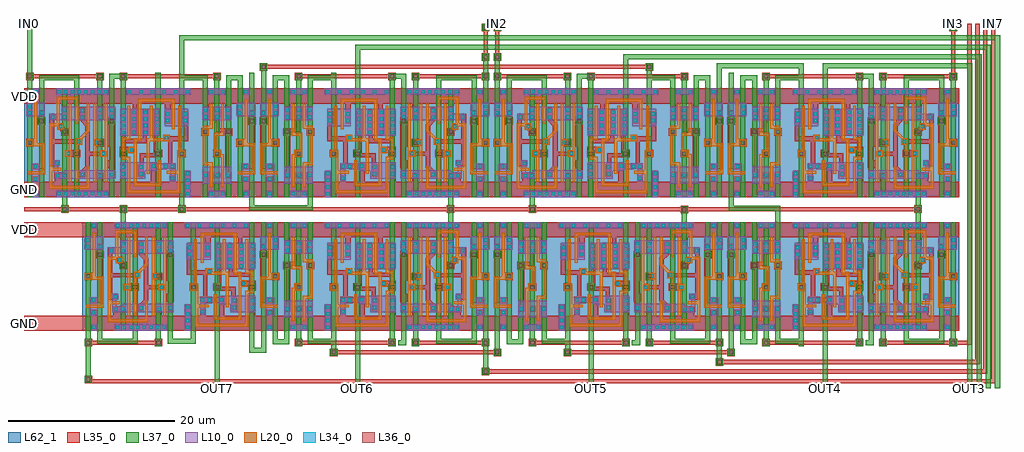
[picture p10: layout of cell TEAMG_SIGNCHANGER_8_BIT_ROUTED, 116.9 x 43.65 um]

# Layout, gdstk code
from math import pi, radians
import gdstk
lib = gdstk.Library(unit=1e-6, precision=1e-09)
def R(c, l, rs):  # rectangles x0, y0, x1, y1
    for r in rs: c.add(gdstk.rectangle(r[:2], r[2:], *l))
def A(c, l, x, y, w, h, nx, ny, dx, dy):  # array of equal rectangles
    R(c, l, [(x+i*dx, y+j*dy, x+i*dx+w, y+j*dy+h) for i in range(nx) for j in range(ny)])
def P(c, l, *ps):  # polygons
    for p in ps: c.add(gdstk.Polygon(p, *l))
L10_0 = (10, 0)
L20_0 = (20, 0)
L34_0 = (34, 0)
L35_0 = (35, 0)
L36_0 = (36, 0)
L37_0 = (37, 0)
L62_1 = (62, 1)

via1 = lib.new_cell('VIA1')
R(via1, L35_0, [(-0.45,-0.45,0.45,0.45)])
R(via1, L36_0, [(-0.25,-0.25,0.25,0.25)])
R(via1, L37_0, [(-0.4,-0.4,0.4,0.4)])

nand21_h = lib.new_cell('NAND21_H')
R(nand21_h, L10_0, [(1.05,0,3.15,0.75), (0.4,1.6,3.8,3.6), (0.4,9.2,3.8,10.8), (1.05,12.25,3.15,13)])
P(nand21_h, L20_0, [(2.95,5.15),(2.625,5.15),(2.625,5.675),(2.05,5.675),(2.05,7.35),(2.95,7.35),(2.95,11.2),(2.6,11.2),(2.6,7.7),(1.7,7.7),(1.7,4.8),(2.6,4.8),(2.6,1.2),(2.95,1.2)],
  [(1.6,4.15),(0.775,4.15),(0.775,7.4),(1.1,7.4),(1.1,8.2),(1.6,8.2),(1.6,11.2),(1.25,11.2),(1.25,8.55),(0.425,8.55),(0.425,8.2),(0.3,8.2),(0.3,7.4),(0.425,7.4),(0.425,3.8),(1.25,3.8),(1.25,1.2),(1.6,1.2)])
A(nand21_h, L34_0, 0.55, 2.4, 0.4, 0.4, 3, 2, 1.35, 7)
A(nand21_h, L34_0, 0.55, 10.2, 0.4, 0.4, 3, 1, 1.35, 0)
R(nand21_h, L34_0, [(1.2,0.2,1.6,0.6), (2.6,0.2,3,0.6), (1.9,5,2.3,5.4), (0.5,7.6,0.9,8), (1.2,12.4,1.6,12.8), (2.6,12.4,3,12.8)])
R(nand21_h, L35_0, [(1.75,2.25,2.45,2.95), (1.65,4.75,2.55,5.65), (1.65,4.75,2.55,5.65), (0.25,7.35,1.15,8.25), (0.25,7.35,1.15,8.25), (3.05,7.35,3.95,8.25)])
P(nand21_h, L35_0, [(4.2,1.8),(1.1,1.8),(1.1,3),(0.4,3),(0.4,1.8),(0,1.8),(0,0),(4.2,0)],
  [(4.2,13),(0,13),(0,11.2),(0.4,11.2),(0.4,9.25),(1.1,9.25),(1.1,11.2),(3.1,11.2),(3.1,9.25),(3.8,9.25),(3.8,11.2),(4.2,11.2)],
  [(3.95,8.25),(2.45,8.25),(2.45,10.75),(1.75,10.75),(1.75,9.25),(1.95,9.25),(1.95,7.75),(3.05,7.75),(3.05,7.35),(3.1,7.35),(3.1,2.25),(3.8,2.25),(3.8,2.95),(3.6,2.95),(3.6,7.35),(3.95,7.35)])
R(nand21_h, L36_0, [(1.85,4.95,2.35,5.45), (0.45,7.55,0.95,8.05), (3.25,7.55,3.75,8.05)])
A(nand21_h, L37_0, 0.4, 0, 0.6, 13, 3, 1, 1.4, 0)
R(nand21_h, L37_0, [(1.7,4.8,2.5,5.6), (0.3,7.4,1.1,8.2), (3.1,7.4,3.9,8.2)])
R(nand21_h, L62_1, [(0,0,4.2,13)])
nand21_h.add(gdstk.Label('NAND21', (2.1,9.5), layer=61, texttype=2))
nand21_h.add(gdstk.Label('B', (0.7,13), layer=37, texttype=0))
nand21_h.add(gdstk.Label('Q', (3.5,13), layer=37, texttype=0))
nand21_h.add(gdstk.Label('A', (2.1,13), layer=37, texttype=0))
nand21_h.add(gdstk.Label('GND', (4.2,0.9), layer=35, texttype=0))
nand21_h.add(gdstk.Label('GND', (0,0.9), layer=35, texttype=0))
nand21_h.add(gdstk.Label('VDD', (4.2,12.1), layer=35, texttype=0))
nand21_h.add(gdstk.Label('VDD', (0,12.1), layer=35, texttype=0))
nand21_h.add(gdstk.Label('B', (0.7,0), layer=37, texttype=0))
nand21_h.add(gdstk.Label('Q', (3.5,0), layer=37, texttype=0))
nand21_h.add(gdstk.Label('A', (2.1,0), layer=37, texttype=0))

xor21_h = lib.new_cell('XOR21_H')
R(xor21_h, L10_0, [(8.05,0,8.75,3.15), (0.3,7.35,5.05,10.55), (5.65,8.5,8.5,10.55), (1.05,12.25,8.75,13)])
P(xor21_h, L10_0, [(6.95,4.025),(5.45,4.025),(5.45,3.975),(4.7,3.975),(4.7,4.175),(0.3,4.175),(0.3,2.175),(3.3,2.175),(3.3,3.175),(4.7,3.175),(4.7,3.325),(6.3,3.325),(6.3,2.575),(6.25,2.575),(6.25,1.875),(6.95,1.875)])
P(xor21_h, L20_0, [(6.85,11.75),(2.5,11.75),(2.5,7.025),(1.95,7.025),(1.95,6.05),(1.3,6.05),(1.3,5.25),(1.95,5.25),(1.95,1.275),(5.25,1.275),(5.25,4.375),(4.9,4.375),(4.9,1.625),(2.3,1.625),(2.3,6.675),(2.85,6.675),(2.85,11.4),(6.5,11.4),(6.5,8.1),(6.85,8.1)],
  [(8.1,5.6),(7.65,5.6),(7.65,10.95),(7.3,10.95),(7.3,5.6),(7.15,5.6),(7.15,3.125),(5.9,3.125),(5.9,2.775),(7.15,2.775),(7.15,0.825),(1.5,0.825),(1.5,4.8),(0.85,4.8),(0.85,6.8),(1.5,6.8),(1.5,10.95),(1.15,10.95),(1.15,7.15),(0.5,7.15),(0.5,4.45),(1.15,4.45),(1.15,0.475),(7.5,0.475),(7.5,4.8),(8.1,4.8)],
  [(6.275,7.475),(5.475,7.475),(5.475,7.025),(4.2,7.025),(4.2,10.95),(3.85,10.95),(3.85,7.025),(3.5,7.025),(3.5,2.775),(3.85,2.775),(3.85,6.675),(6.275,6.675)])
A(xor21_h, L34_0, 8.2, 0.2, 0.4, 0.4, 1, 4, 0, 0.8)
A(xor21_h, L34_0, 0.45, 7.55, 0.4, 0.4, 4, 4, 1.35, 0.8)
A(xor21_h, L34_0, 1.2, 12.4, 0.4, 0.4, 6, 1, 1.4, 0)
R(xor21_h, L34_0, [(6.4,2.05,6.8,2.45), (0.45,2.55,0.85,2.95), (2.6,2.55,3,2.95), (0.45,3.4,0.85,3.8), (2.6,3.4,3,3.8), (5.6,3.45,6,3.85), (6.4,3.45,6.8,3.85), (4.15,3.5,4.55,3.9), (7.5,5,7.9,5.4), (1.5,5.45,1.9,5.85), (5.65,6.9,6.05,7.3), (5.8,8.95,6.2,9.35), (7.95,8.95,8.35,9.35), (5.8,9.75,6.2,10.15), (7.95,9.75,8.35,10.15)])
R(xor21_h, L35_0, [(0.25,4.75,1.15,5.65), (4.4,4.75,5.3,5.65), (7.25,4.75,8.15,5.65), (7.25,4.75,8.15,5.65)])
P(xor21_h, L35_0, [(5.35,5.65),(4.85,5.65),(4.85,7.4),(5.05,7.4),(5.05,10.5),(4.35,10.5),(4.35,5.25),(2.65,5.25),(2.65,3.95),(2.45,3.95),(2.45,2.4),(3.15,2.4),(3.15,4.75),(5.35,4.75)],
  [(9.8,1.8),(8.75,1.8),(8.75,3.15),(8.05,3.15),(8.05,1.8),(6.95,1.8),(6.95,2.6),(6.25,2.6),(6.25,1.8),(4.7,1.8),(4.7,4.05),(4,4.05),(4,1.8),(1,1.8),(1,3.95),(0.3,3.95),(0.3,1.8),(0,1.8),(0,0),(9.8,0)],
  [(8.5,10.3),(7.8,10.3),(7.8,8.8),(8,8.8),(8,7.25),(6.25,7.25),(6.25,7.45),(5.5,7.45),(5.5,6.7),(6.05,6.7),(6.05,4.05),(5.45,4.05),(5.45,3.3),(6.95,3.3),(6.95,4.05),(6.55,4.05),(6.55,6.7),(8.5,6.7)],
  [(9.8,13),(0,13),(0,11.2),(1.85,11.2),(1.85,10.5),(1.65,10.5),(1.65,7.4),(2.35,7.4),(2.35,11.2),(5.65,11.2),(5.65,8.8),(6.35,8.8),(6.35,11.2),(9.8,11.2)],
  [(3.7,10.5),(3,10.5),(3,6.95),(1,6.95),(1,10.5),(0.3,10.5),(0.3,7.4),(0.5,7.4),(0.5,6.45),(3.5,6.45),(3.5,7.4),(3.7,7.4)],
  [(2.05,6),(0.25,6),(0.25,4.75),(1.15,4.75),(1.15,5.3),(2.05,5.3)])
R(xor21_h, L36_0, [(0.45,4.95,0.95,5.45), (4.6,4.95,5.1,5.45), (7.45,4.95,7.95,5.45)])
R(xor21_h, L37_0, [(0.4,0,1,13), (4.55,0,5.15,13), (7.4,0,8,13), (0.3,4.8,1.1,5.6), (4.45,4.8,5.25,5.6), (7.3,4.8,8.1,5.6)])
R(xor21_h, L62_1, [(0,0,9.8,13)])
xor21_h.add(gdstk.Label('XOR21', (4.9,9.5), layer=61, texttype=2))
xor21_h.add(gdstk.Label('A', (0.7,13), layer=37, texttype=0))
xor21_h.add(gdstk.Label('Q', (4.85,13), layer=37, texttype=0))
xor21_h.add(gdstk.Label('B', (7.7,13), layer=37, texttype=0))
xor21_h.add(gdstk.Label('GND', (9.8,0.9), layer=35, texttype=0))
xor21_h.add(gdstk.Label('GND', (0,0.9), layer=35, texttype=0))
xor21_h.add(gdstk.Label('VDD', (9.8,12.1), layer=35, texttype=0))
xor21_h.add(gdstk.Label('VDD', (0,12.1), layer=35, texttype=0))
xor21_h.add(gdstk.Label('A', (0.7,0), layer=37, texttype=0))
xor21_h.add(gdstk.Label('Q', (4.85,0), layer=37, texttype=0))
xor21_h.add(gdstk.Label('B', (7.7,0), layer=37, texttype=0))

inv1_h = lib.new_cell('INV1_H')
R(inv1_h, L10_0, [(1.05,0,1.75,0.75), (0.85,1.8,1.85,4), (0.3,9.7,2.5,11.3), (1.05,12.25,1.75,13)])
P(inv1_h, L20_0, [(2.525,6.45),(1.575,6.45),(1.575,11.7),(1.225,11.7),(1.225,6.9),(0.3,6.9),(0.3,6.1),(2.175,6.1),(2.175,3.075),(0.425,3.075),(0.425,2.725),(2.525,2.725)])
R(inv1_h, L34_0, [(1.2,0.2,1.6,0.6), (1.15,1.95,1.55,2.35), (1.15,3.45,1.55,3.85), (0.5,6.3,0.9,6.7), (0.45,9.85,0.85,10.25), (1.95,9.85,2.35,10.25), (0.45,10.65,0.85,11.05), (1.2,12.4,1.6,12.8)])
R(inv1_h, L35_0, [(0,0,2.8,1.8), (0.25,6.05,1.15,6.95), (0.25,6.05,1.15,6.95), (1.65,8.65,2.55,9.55), (0,11.2,2.8,13)])
P(inv1_h, L35_0, [(2.8,1.8),(1.75,1.8),(1.75,2.5),(1,2.5),(1,1.8),(0,1.8),(0,0),(2.8,0)],
  [(2.55,9.55),(2.5,9.55),(2.5,10.4),(1.8,10.4),(1.8,9.55),(1.65,9.55),(1.65,8.65),(1.8,8.65),(1.8,4),(1,4),(1,3.3),(2.5,3.3),(2.5,8.65),(2.55,8.65)],
  [(2.8,13),(0,13),(0,11.2),(0.3,11.2),(0.3,9.7),(1,9.7),(1,11.2),(2.8,11.2)])
R(inv1_h, L36_0, [(0.45,6.25,0.95,6.75), (1.85,8.85,2.35,9.35)])
R(inv1_h, L37_0, [(0.4,0,1,13), (1.8,0,2.4,13), (0.3,6.1,1.1,6.9), (1.7,8.7,2.5,9.5)])
R(inv1_h, L62_1, [(0,0,2.8,13)])
inv1_h.add(gdstk.Label('INV1', (1.4,9.5), layer=61, texttype=2))
inv1_h.add(gdstk.Label('A', (0.7,13), layer=37, texttype=0))
inv1_h.add(gdstk.Label('Q', (2.1,13), layer=37, texttype=0))
inv1_h.add(gdstk.Label('A', (0.7,0), layer=37, texttype=0))
inv1_h.add(gdstk.Label('Q', (2.1,0), layer=37, texttype=0))
inv1_h.add(gdstk.Label('VDD', (0,12.1), layer=35, texttype=0))
inv1_h.add(gdstk.Label('GND', (0,0.9), layer=35, texttype=0))
inv1_h.add(gdstk.Label('VDD', (2.8,12.1), layer=35, texttype=0))
inv1_h.add(gdstk.Label('GND', (2.8,0.9), layer=35, texttype=0))

teamg_halfadder_rb = lib.new_cell('TEAMG_HALFADDER_RB')
teamg_halfadder_rb.add(gdstk.FlexPath([(0.4,36.05),(-11.4,36.05)], 0.5, ends="flush", simple_path=True, layer=35, datatype=0))  # L35_0
teamg_halfadder_rb.add(gdstk.FlexPath([(2.9,37.5),(2.9,36.15),(1.5,36.15),(1.5,37.5)], 0.6, ends="flush", simple_path=True, layer=37, datatype=0))  # L37_0
teamg_halfadder_rb.add(gdstk.FlexPath([(4.3,35.6),(4.3,37.5)], 0.6, ends="flush", simple_path=True, layer=37, datatype=0))  # L37_0
teamg_halfadder_rb.add(gdstk.FlexPath([(0.1,36.15),(0.1,37.5)], 0.6, ends="flush", simple_path=True, layer=37, datatype=0))  # L37_0
teamg_halfadder_rb.add(gdstk.FlexPath([(-1.3,37.5),(-1.3,36.2),(-4.1,36.2),(-4.1,37.1)], 0.6, ends="flush", simple_path=True, layer=37, datatype=0))  # L37_0
teamg_halfadder_rb.add(gdstk.FlexPath([(-4.1,35.6),(-4.1,37.5)], 0.6, ends="flush", simple_path=True, layer=37, datatype=0))  # L37_0
teamg_halfadder_rb.add(gdstk.FlexPath([(-11.1,35.6),(-11.1,37.5)], 0.6, ends="flush", simple_path=True, layer=37, datatype=0))  # L37_0
teamg_halfadder_rb.add(gdstk.FlexPath([(-6.95,35.6),(-6.95,37.5)], 0.6, ends="flush", simple_path=True, layer=37, datatype=0))  # L37_0
teamg_halfadder_rb.add(gdstk.FlexPath([(-11.1,35.6),(-11.1,36.15)], 0.6, ends="flush", simple_path=True, layer=37, datatype=0))  # L37_0
teamg_halfadder_rb.add(gdstk.Reference(via1, (0.1,36.05), x_reflection=True))
teamg_halfadder_rb.add(gdstk.Reference(via1, (-11.1,36.05), x_reflection=True))
teamg_halfadder_rb.add(gdstk.Reference(nand21_h, (-2,37.5)))
teamg_halfadder_rb.add(gdstk.Reference(xor21_h, (-11.8,37.5)))
teamg_halfadder_rb.add(gdstk.Reference(inv1_h, (2.2,37.5)))
teamg_halfadder_rb.add(gdstk.Label('B', (-4.1,50.5), layer=37, texttype=0))
teamg_halfadder_rb.add(gdstk.Label('A', (0.1,50.5), layer=37, texttype=0))
teamg_halfadder_rb.add(gdstk.Label('B', (-1.3,50.5), layer=37, texttype=0))
teamg_halfadder_rb.add(gdstk.Label('SUM', (-6.95,50.5), layer=37, texttype=0))
teamg_halfadder_rb.add(gdstk.Label('A', (-11.1,50.5), layer=37, texttype=0))
teamg_halfadder_rb.add(gdstk.Label('COUT', (4.3,50.5), layer=37, texttype=0))
teamg_halfadder_rb.add(gdstk.Label('COUT', (4.3,35.6), layer=37, texttype=0))
teamg_halfadder_rb.add(gdstk.Label('B', (-4.1,35.6), layer=37, texttype=0))
teamg_halfadder_rb.add(gdstk.Label('SUM', (-6.95,35.6), layer=37, texttype=0))
teamg_halfadder_rb.add(gdstk.Label('A', (-11.1,35.6), layer=35, texttype=0))
teamg_halfadder_rb.add(gdstk.Label('VDD', (5,49.6), layer=35, texttype=0))
teamg_halfadder_rb.add(gdstk.Label('GND', (5,38.4), layer=35, texttype=0))
teamg_halfadder_rb.add(gdstk.Label('GND', (-11.8,38.4), layer=35, texttype=0))
teamg_halfadder_rb.add(gdstk.Label('VDD', (-11.8,49.6), layer=35, texttype=0))

mux21_h = lib.new_cell('MUX21_H')
R(mux21_h, L10_0, [(1.05,0,7.35,0.75), (1.05,12.25,7.35,13)])
P(mux21_h, L10_0, [(8.1,3.2),(2.05,3.2),(2.05,2.95),(1.275,2.95),(1.275,3.7),(1.475,3.7),(1.475,4.4),(0.775,4.4),(0.775,2.2),(8.1,2.2)],
  [(8.1,10.8),(1.7,10.8),(1.7,10),(0.3,10),(0.3,9.2),(8.1,9.2)])
P(mux21_h, L20_0, [(7.25,11.2),(6.9,11.2),(6.9,5.625),(6.3,5.625),(6.3,4.825),(6.9,4.825),(6.9,1.8),(7.25,1.8)],
  [(6.3,6.925),(5.85,6.925),(5.85,11.2),(5.5,11.2),(5.5,1.8),(5.85,1.8),(5.85,6.125),(6.3,6.125)],
  [(5.05,3.6),(4.7,3.6),(4.7,1.35),(0.575,1.35),(0.575,3.15),(1.675,3.15),(1.675,3.5),(0.575,3.5),(0.575,8.5),(1.175,8.5),(1.175,8.05),(1.975,8.05),(1.975,8.85),(1.5,8.85),(1.5,11.65),(3.35,11.65),(3.35,8.8),(3.7,8.8),(3.7,12),(1.15,12),(1.15,8.85),(0.225,8.85),(0.225,1),(5.05,1)],
  [(5.05,11.2),(4.7,11.2),(4.7,7.998),(3.752,7.05),(3.35,7.05),(3.35,1.8),(3.7,1.8),(3.7,6.25),(4.15,6.25),(4.15,6.952),(5.05,7.852)],
  [(2.9,11.2),(2.55,11.2),(2.55,5.625),(2.1,5.625),(2.1,4.825),(2.55,4.825),(2.55,1.8),(2.9,1.8)])
A(mux21_h, L34_0, 1.2, 0.2, 0.4, 0.4, 8, 2, 0.8, 12.2)
R(mux21_h, L34_0, [(1.05,2.35,1.45,2.75), (1.85,2.35,2.25,2.75), (6.15,2.35,6.55,2.75), (4,2.5,4.4,2.9), (7.55,2.5,7.95,2.9), (0.95,3.85,1.35,4.25), (2.3,5,2.7,5.4), (6.5,5,6.9,5.4), (5.75,6.35,6.15,6.75), (3.55,6.45,3.95,6.85), (1.4,8.25,1.8,8.65), (4,9.35,4.4,9.75), (0.45,9.4,0.85,9.8), (1.85,9.4,2.25,9.8), (6.15,9.4,6.55,9.8), (7.55,9.4,7.95,9.8), (4,10.15,4.4,10.55), (1.85,10.2,2.25,10.6), (6.15,10.2,6.55,10.6), (7.55,10.2,7.95,10.6)])
R(mux21_h, L35_0, [(3.05,4.75,3.95,5.65), (5.85,6.05,6.75,6.95), (1.65,7.35,2.55,8.25), (7.25,8.65,8.15,9.55)])
P(mux21_h, L35_0, [(2.55,8.25),(2.15,8.25),(1.95,8.45),(1.95,8.8),(1.25,8.8),(1.25,8.1),(1.35,8.1),(1.65,7.8),(1.65,7.35),(2.55,7.35)],
  [(7.05,5.55),(6.35,5.55),(6.35,5.45),(5.1,5.45),(5.1,8.7),(4.55,9.25),(4.55,10.7),(3.85,10.7),(3.85,9.2),(4,9.2),(4,9.05),(4.55,8.5),(4.55,3.7),(3.9,3.05),(3.85,3.05),(3.85,2.35),(4.55,2.35),(4.55,2.95),(5.1,3.5),(5.1,4.95),(6.35,4.95),(6.35,4.85),(7.05,4.85)],
  [(4.1,7),(3.4,7),(3.4,6.9),(0.8,6.9),(0.8,9.25),(1,9.25),(1,9.95),(0.8,9.95),(0.8,10),(0.25,10),(0.25,3.7),(1.5,3.7),(1.5,4.4),(0.8,4.4),(0.8,6.4),(3.4,6.4),(3.4,6.3),(4.1,6.3)],
  [(3.95,5.65),(3.05,5.65),(3.05,5.6),(2.15,5.6),(2.15,4.85),(3.05,4.85),(3.05,4.75),(3.95,4.75)],
  [(8.15,9.55),(8.1,9.55),(8.1,10.75),(7.4,10.75),(7.4,9.55),(7.25,9.55),(7.25,6),(7.5,6),(7.5,4.4),(7.25,4.4),(7.25,3.45),(7.4,3.45),(7.4,2.35),(8.1,2.35),(8.1,3.45),(8.15,3.45)],
  [(6.75,6.95),(5.85,6.95),(5.85,6.9),(5.55,6.9),(5.55,6.15),(5.85,6.15),(5.85,6.05),(6.75,6.05)],
  [(8.4,1.8),(6.7,1.8),(6.7,2.9),(6,2.9),(6,1.8),(2.4,1.8),(2.4,2.9),(0.9,2.9),(0.9,1.8),(0,1.8),(0,0),(8.4,0)],
  [(8.4,13),(0,13),(0,11.2),(1.7,11.2),(1.7,9.25),(2.4,9.25),(2.4,11.2),(6,11.2),(6,9.25),(6.7,9.25),(6.7,11.2),(8.4,11.2)])
R(mux21_h, L36_0, [(3.25,4.95,3.75,5.45), (6.05,6.25,6.55,6.75), (1.85,7.55,2.35,8.05), (7.45,8.85,7.95,9.35)])
R(mux21_h, L37_0, [(1.8,0,2.4,13), (3.2,0,3.8,13), (6,0,6.6,13), (7.4,0,8,13), (3.1,4.8,3.9,5.6), (5.9,6.1,6.7,6.9), (1.7,7.4,2.5,8.2), (7.3,8.7,8.1,9.5)])
R(mux21_h, L62_1, [(0,0,8.4,13)])
mux21_h.add(gdstk.Label('MUX21', (4.2,9.5), layer=61, texttype=2))
mux21_h.add(gdstk.Label('S', (2.1,13), layer=37, texttype=0))
mux21_h.add(gdstk.Label('A', (3.5,13), layer=37, texttype=0))
mux21_h.add(gdstk.Label('B', (6.3,13), layer=37, texttype=0))
mux21_h.add(gdstk.Label('Q', (7.7,13), layer=37, texttype=0))
mux21_h.add(gdstk.Label('GND', (8.4,0.9), layer=35, texttype=0))
mux21_h.add(gdstk.Label('GND', (0,0.9), layer=35, texttype=0))
mux21_h.add(gdstk.Label('VDD', (8.4,12.1), layer=35, texttype=0))
mux21_h.add(gdstk.Label('VDD', (0,12.1), layer=35, texttype=0))
mux21_h.add(gdstk.Label('S', (2.1,0), layer=37, texttype=0))
mux21_h.add(gdstk.Label('A', (3.5,0), layer=37, texttype=0))
mux21_h.add(gdstk.Label('B', (6.3,0), layer=37, texttype=0))
mux21_h.add(gdstk.Label('Q', (7.7,0), layer=37, texttype=0))

teamg_halfadder_rt = lib.new_cell('TEAMG_HALFADDER_RT')
teamg_halfadder_rt.add(gdstk.FlexPath([(0.4,51.95),(-11.4,51.95)], 0.5, ends="flush", simple_path=True, layer=35, datatype=0))  # L35_0
teamg_halfadder_rt.add(gdstk.FlexPath([(-11.8,51.95),(-11.5,51.95)], 0.6, ends="flush", simple_path=True, layer=37, datatype=0))  # L37_0
teamg_halfadder_rt.add(gdstk.FlexPath([(-11.1,50.5),(-11.1,51.65)], 0.6, ends="flush", simple_path=True, layer=37, datatype=0))  # L37_0
teamg_halfadder_rt.add(gdstk.FlexPath([(4.3,52.4),(4.3,50.5)], 0.6, ends="flush", simple_path=True, layer=37, datatype=0))  # L37_0
teamg_halfadder_rt.add(gdstk.FlexPath([(-4.1,52.4),(-4.1,50.9)], 0.6, ends="flush", simple_path=True, layer=37, datatype=0))  # L37_0
teamg_halfadder_rt.add(gdstk.FlexPath([(-6.95,52.4),(-6.95,50.9)], 0.6, ends="flush", simple_path=True, layer=37, datatype=0))  # L37_0
teamg_halfadder_rt.add(gdstk.FlexPath([(2.9,50.5),(2.9,51.8),(1.5,51.8),(1.5,50.5)], 0.6, ends="flush", simple_path=True, layer=37, datatype=0))  # L37_0
teamg_halfadder_rt.add(gdstk.FlexPath([(-1.3,50.9),(-1.3,51.8),(-4.1,51.8),(-4.1,50.9)], 0.6, ends="flush", simple_path=True, layer=37, datatype=0))  # L37_0
teamg_halfadder_rt.add(gdstk.FlexPath([(0.1,50.5),(0.1,50.9)], 0.6, ends="flush", simple_path=True, layer=37, datatype=0))  # L37_0
teamg_halfadder_rt.add(gdstk.FlexPath([(-1.3,50.5),(-1.3,50.9)], 0.6, ends="flush", simple_path=True, layer=37, datatype=0))  # L37_0
teamg_halfadder_rt.add(gdstk.FlexPath([(-4.1,50.5),(-4.1,50.9)], 0.6, ends="flush", simple_path=True, layer=37, datatype=0))  # L37_0
teamg_halfadder_rt.add(gdstk.FlexPath([(-6.95,50.5),(-6.95,50.9)], 0.6, ends="flush", simple_path=True, layer=37, datatype=0))  # L37_0
teamg_halfadder_rt.add(gdstk.FlexPath([(0.1,51.85),(0.1,50.9)], 0.6, ends="flush", simple_path=True, layer=37, datatype=0))  # L37_0
teamg_halfadder_rt.add(gdstk.Reference(via1, (0.1,51.95)))
teamg_halfadder_rt.add(gdstk.Reference(via1, (-11.1,51.95)))
teamg_halfadder_rt.add(gdstk.Reference(nand21_h, (-2,37.5)))
teamg_halfadder_rt.add(gdstk.Reference(xor21_h, (-11.8,37.5)))
teamg_halfadder_rt.add(gdstk.Reference(inv1_h, (2.2,37.5)))
teamg_halfadder_rt.add(gdstk.Label('A', (-11.1,52.4), layer=35, texttype=0))
teamg_halfadder_rt.add(gdstk.Label('COUT', (4.3,37.5), layer=37, texttype=0))
teamg_halfadder_rt.add(gdstk.Label('GND', (5,38.4), layer=35, texttype=0))
teamg_halfadder_rt.add(gdstk.Label('A', (0.1,37.5), layer=37, texttype=0))
teamg_halfadder_rt.add(gdstk.Label('B', (-1.3,37.5), layer=37, texttype=0))
teamg_halfadder_rt.add(gdstk.Label('B', (-4.125,37.5), layer=37, texttype=0))
teamg_halfadder_rt.add(gdstk.Label('A', (-11.1,37.5), layer=37, texttype=0))
teamg_halfadder_rt.add(gdstk.Label('SUM', (-6.95,37.5), layer=37, texttype=0))
teamg_halfadder_rt.add(gdstk.Label('VDD', (-11.8,49.6), layer=35, texttype=0))
teamg_halfadder_rt.add(gdstk.Label('GND', (-11.8,38.4), layer=35, texttype=0))
teamg_halfadder_rt.add(gdstk.Label('A', (-11.8,51.95), layer=37, texttype=0))
teamg_halfadder_rt.add(gdstk.Label('COUT', (4.3,52.4), layer=37, texttype=0))
teamg_halfadder_rt.add(gdstk.Label('B', (-4.1,52.4), layer=37, texttype=0))
teamg_halfadder_rt.add(gdstk.Label('SUM', (-6.95,52.4), layer=37, texttype=0))
teamg_halfadder_rt.add(gdstk.Label('VDD', (5,49.6), layer=35, texttype=0))

teamg_signchanger_8_bit_ = lib.new_cell('TEAMG_SIGNCHANGER_8_BIT_ROUTED')
teamg_signchanger_8_bit_.add(gdstk.FlexPath([(34.6,44.45),(34.6,40.4)], 0.5, ends="flush", simple_path=True, layer=35, datatype=0))  # L35_0
teamg_signchanger_8_bit_.add(gdstk.FlexPath([(94,44.65),(94,1.85),(-14.65,1.85)], 0.5, ends="flush", simple_path=True, layer=35, datatype=0))  # L35_0
teamg_signchanger_8_bit_.add(gdstk.FlexPath([(93.05,44.65),(93.05,3),(32.95,3)], 0.5, ends="flush", simple_path=True, layer=35, datatype=0))  # L35_0
teamg_signchanger_8_bit_.add(gdstk.FlexPath([(60.95,4.15),(92.1,4.15),(92.1,44.65)], 0.5, ends="flush", simple_path=True, layer=35, datatype=0))  # L35_0
teamg_signchanger_8_bit_.add(gdstk.FlexPath([(91.15,44.65),(91.15,6.45),(80.55,6.45)], 0.5, ends="flush", simple_path=True, layer=35, datatype=0))  # L35_0
teamg_signchanger_8_bit_.add(gdstk.FlexPath([(89.2,44.05),(89.2,38.1)], 0.5, ends="flush", simple_path=True, layer=35, datatype=0))  # L35_0
teamg_signchanger_8_bit_.add(gdstk.FlexPath([(33.2,44.45),(33.2,40.4)], 0.5, ends="flush", simple_path=True, layer=35, datatype=0))  # L35_0
teamg_signchanger_8_bit_.add(gdstk.FlexPath([(53.05,39.5),(6.35,39.5)], 0.5, ends="flush", simple_path=True, layer=35, datatype=0))  # L35_0
teamg_signchanger_8_bit_.add(gdstk.FlexPath([(85.25,22.45),(-22.1,22.45)], 0.5, ends="flush", simple_path=True, layer=35, datatype=0))  # L35_0
teamg_signchanger_8_bit_.add(gdstk.FlexPath([(61.5,6.45),(52.5,6.45)], 0.5, ends="flush", simple_path=True, layer=35, datatype=0))  # L35_0
teamg_signchanger_8_bit_.add(gdstk.FlexPath([(62.85,5.3),(42.75,5.3)], 0.5, ends="flush", simple_path=True, layer=35, datatype=0))  # L35_0
teamg_signchanger_8_bit_.add(gdstk.FlexPath([(34.9,5.3),(14.75,5.3)], 0.5, ends="flush", simple_path=True, layer=35, datatype=0))  # L35_0
teamg_signchanger_8_bit_.add(gdstk.FlexPath([(33.45,6.45),(24.5,6.45)], 0.5, ends="flush", simple_path=True, layer=35, datatype=0))  # L35_0
teamg_signchanger_8_bit_.add(gdstk.FlexPath([(-22.1,8.8),(-15.1,8.8)], 1.8, ends="flush", simple_path=True, layer=35, datatype=0))  # L35_0
teamg_signchanger_8_bit_.add(gdstk.FlexPath([(-22.1,20),(-15.1,20)], 1.8, ends="flush", simple_path=True, layer=35, datatype=0))  # L35_0
teamg_signchanger_8_bit_.add(gdstk.FlexPath([(-14.65,6.45),(-5.75,6.45)], 0.5, ends="flush", simple_path=True, layer=35, datatype=0))  # L35_0
teamg_signchanger_8_bit_.add(gdstk.FlexPath([(89.45,38.35),(80.55,38.35)], 0.5, ends="flush", simple_path=True, layer=35, datatype=0))  # L35_0
teamg_signchanger_8_bit_.add(gdstk.FlexPath([(34.35,38.35),(43.25,38.35)], 0.5, ends="flush", simple_path=True, layer=35, datatype=0))  # L35_0
teamg_signchanger_8_bit_.add(gdstk.FlexPath([(33.45,38.35),(24.55,38.35)], 0.5, ends="flush", simple_path=True, layer=35, datatype=0))  # L35_0
teamg_signchanger_8_bit_.add(gdstk.FlexPath([(-21.65,38.35),(-12.75,38.35)], 0.5, ends="flush", simple_path=True, layer=35, datatype=0))  # L35_0
teamg_signchanger_8_bit_.add(gdstk.FlexPath([(-10.9,38.35),(-11.6,38.35),(-11.6,36.9)], 0.6, ends="flush", simple_path=True, layer=37, datatype=0))  # L37_0
teamg_signchanger_8_bit_.add(gdstk.FlexPath([(22.7,6.45),(23.4,6.45),(23.4,7.9)], 0.6, ends="flush", simple_path=True, layer=37, datatype=0))  # L37_0
teamg_signchanger_8_bit_.add(gdstk.FlexPath([(1.05,1),(1.05,7.9)], 0.6, ends="flush", simple_path=True, layer=37, datatype=0))  # L37_0
teamg_signchanger_8_bit_.add(gdstk.FlexPath([(17.85,1),(17.85,6)], 0.6, ends="flush", simple_path=True, layer=37, datatype=0))  # L37_0
teamg_signchanger_8_bit_.add(gdstk.FlexPath([(45.85,1),(45.85,6)], 0.6, ends="flush", simple_path=True, layer=37, datatype=0))  # L37_0
teamg_signchanger_8_bit_.add(gdstk.FlexPath([(73.85,1),(73.85,6)], 0.6, ends="flush", simple_path=True, layer=37, datatype=0))  # L37_0
teamg_signchanger_8_bit_.add(gdstk.FlexPath([(-21.4,44.65),(-21.4,36.9)], 0.6, ends="flush", simple_path=True, layer=37, datatype=0))  # L37_0
teamg_signchanger_8_bit_.add(gdstk.FlexPath([(89.2,44.65),(89.2,43.95)], 0.6, ends="flush", simple_path=True, layer=37, datatype=0))  # L37_0
teamg_signchanger_8_bit_.add(gdstk.FlexPath([(34.6,44.65),(34.6,43.8)], 0.6, ends="flush", simple_path=True, layer=37, datatype=0))  # L37_0
teamg_signchanger_8_bit_.add(gdstk.FlexPath([(33.2,44.65),(33.2,43.95)], 0.6, ends="flush", simple_path=True, layer=37, datatype=0))  # L37_0
teamg_signchanger_8_bit_.add(gdstk.FlexPath([(94.5,1),(94.5,42.95),(-3.2,42.95),(-3.2,38.8)], 0.6, ends="flush", simple_path=True, layer=37, datatype=0))  # L37_0
teamg_signchanger_8_bit_.add(gdstk.FlexPath([(93.4,1),(93.4,41.85),(17.85,41.85),(17.85,38.8)], 0.6, ends="flush", simple_path=True, layer=37, datatype=0))  # L37_0
teamg_signchanger_8_bit_.add(gdstk.FlexPath([(92.3,1),(92.3,40.7),(49.95,40.7),(49.95,38.8)], 0.6, ends="flush", simple_path=True, layer=37, datatype=0))  # L37_0
teamg_signchanger_8_bit_.add(gdstk.FlexPath([(52.8,39.75),(52.8,38.8)], 0.6, ends="flush", simple_path=True, layer=37, datatype=0))  # L37_0
teamg_signchanger_8_bit_.add(gdstk.FlexPath([(6.6,39.75),(6.6,38.8)], 0.6, ends="flush", simple_path=True, layer=37, datatype=0))  # L37_0
teamg_signchanger_8_bit_.add(gdstk.FlexPath([(91.2,1),(91.2,39.6),(73.85,39.6),(73.85,38.8)], 0.6, ends="flush", simple_path=True, layer=37, datatype=0))  # L37_0
teamg_signchanger_8_bit_.add(gdstk.FlexPath([(71,38.8),(71,39.6),(61.2,39.6),(61.2,38.8)], 0.6, ends="flush", simple_path=True, layer=37, datatype=0))  # L37_0
teamg_signchanger_8_bit_.add(gdstk.FlexPath([(89.2,38.6),(89.2,36.9)], 0.6, ends="flush", simple_path=True, layer=37, datatype=0))  # L37_0
teamg_signchanger_8_bit_.add(gdstk.FlexPath([(-14.4,1.65),(-14.4,7.9)], 0.6, ends="flush", simple_path=True, layer=37, datatype=0))  # L37_0
teamg_signchanger_8_bit_.add(gdstk.FlexPath([(89.2,6.2),(89.2,7.9)], 0.6, ends="flush", simple_path=True, layer=37, datatype=0))  # L37_0
teamg_signchanger_8_bit_.add(gdstk.FlexPath([(33.2,2.75),(33.2,7.9)], 0.6, ends="flush", simple_path=True, layer=37, datatype=0))  # L37_0
teamg_signchanger_8_bit_.add(gdstk.FlexPath([(57,22.7),(57,20.9)], 0.6, ends="flush", simple_path=True, layer=37, datatype=0))  # L37_0
teamg_signchanger_8_bit_.add(gdstk.FlexPath([(61.2,3.8),(61.2,7.9)], 0.6, ends="flush", simple_path=True, layer=37, datatype=0))  # L37_0
teamg_signchanger_8_bit_.add(gdstk.FlexPath([(43,5.05),(43,6)], 0.6, ends="flush", simple_path=True, layer=37, datatype=0))  # L37_0
teamg_signchanger_8_bit_.add(gdstk.FlexPath([(62.6,5.05),(62.6,6)], 0.6, ends="flush", simple_path=True, layer=37, datatype=0))  # L37_0
teamg_signchanger_8_bit_.add(gdstk.FlexPath([(34.6,5.05),(34.6,6)], 0.6, ends="flush", simple_path=True, layer=37, datatype=0))  # L37_0
teamg_signchanger_8_bit_.add(gdstk.FlexPath([(15,4.9),(15,6)], 0.6, ends="flush", simple_path=True, layer=37, datatype=0))  # L37_0
teamg_signchanger_8_bit_.add(gdstk.FlexPath([(6.6,6),(6.6,5.55),(5.2,5.55),(5.2,7.9)], 0.6, ends="flush", simple_path=True, layer=37, datatype=0))  # L37_0
teamg_signchanger_8_bit_.add(gdstk.FlexPath([(80.8,38.6),(80.8,36.9)], 0.6, ends="flush", simple_path=True, layer=37, datatype=0))  # L37_0
teamg_signchanger_8_bit_.add(gdstk.FlexPath([(50.7,6.45),(51.4,6.45),(51.4,7.9)], 0.6, ends="flush", simple_path=True, layer=37, datatype=0))  # L37_0
teamg_signchanger_8_bit_.add(gdstk.FlexPath([(52.8,6.7),(52.8,7.9)], 0.6, ends="flush", simple_path=True, layer=37, datatype=0))  # L37_0
teamg_signchanger_8_bit_.add(gdstk.FlexPath([(59.8,7.9),(59.8,6.6),(55.6,6.6),(55.6,7.9)], 0.6, ends="flush", simple_path=True, layer=37, datatype=0))  # L37_0
teamg_signchanger_8_bit_.add(gdstk.FlexPath([(38.8,22.2),(38.8,23.9)], 0.6, ends="flush", simple_path=True, layer=37, datatype=0))  # L37_0
teamg_signchanger_8_bit_.add(gdstk.FlexPath([(29,20.9),(29,23.9)], 0.6, ends="flush", simple_path=True, layer=37, datatype=0))  # L37_0
teamg_signchanger_8_bit_.add(gdstk.FlexPath([(-10.2,22.7),(-10.2,20.9)], 0.6, ends="flush", simple_path=True, layer=37, datatype=0))  # L37_0
teamg_signchanger_8_bit_.add(gdstk.FlexPath([(-1.8,7.9),(-1.8,6.6),(-4.6,6.6),(-4.6,7.9)], 0.6, ends="flush", simple_path=True, layer=37, datatype=0))  # L37_0
teamg_signchanger_8_bit_.add(gdstk.FlexPath([(-6,6.2),(-6,7.9)], 0.6, ends="flush", simple_path=True, layer=37, datatype=0))  # L37_0
teamg_signchanger_8_bit_.add(gdstk.FlexPath([(-13,7.9),(-13,6.6),(-8.8,6.6),(-8.8,7.9)], 0.6, ends="flush", simple_path=True, layer=37, datatype=0))  # L37_0
teamg_signchanger_8_bit_.add(gdstk.FlexPath([(24.8,6.7),(24.8,7.9)], 0.6, ends="flush", simple_path=True, layer=37, datatype=0))  # L37_0
teamg_signchanger_8_bit_.add(gdstk.FlexPath([(31.8,7.9),(31.8,6.6),(27.6,6.6),(27.6,7.9)], 0.6, ends="flush", simple_path=True, layer=37, datatype=0))  # L37_0
teamg_signchanger_8_bit_.add(gdstk.FlexPath([(68.2,20.9),(68.2,22.55),(62.6,22.55),(62.6,23.9)], 0.6, ends="flush", simple_path=True, layer=37, datatype=0))  # L37_0
teamg_signchanger_8_bit_.add(gdstk.FlexPath([(85,20.9),(85,23.9)], 0.6, ends="flush", simple_path=True, layer=37, datatype=0))  # L37_0
teamg_signchanger_8_bit_.add(gdstk.FlexPath([(78.7,6.45),(79.4,6.45),(79.4,7.9)], 0.6, ends="flush", simple_path=True, layer=37, datatype=0))  # L37_0
teamg_signchanger_8_bit_.add(gdstk.FlexPath([(80.8,6.7),(80.8,7.9)], 0.6, ends="flush", simple_path=True, layer=37, datatype=0))  # L37_0
teamg_signchanger_8_bit_.add(gdstk.FlexPath([(87.8,7.9),(87.8,6.6),(83.6,6.6),(83.6,7.9)], 0.6, ends="flush", simple_path=True, layer=37, datatype=0))  # L37_0
teamg_signchanger_8_bit_.add(gdstk.FlexPath([(78.7,38.35),(79.4,38.35),(79.4,36.9)], 0.6, ends="flush", simple_path=True, layer=37, datatype=0))  # L37_0
teamg_signchanger_8_bit_.add(gdstk.FlexPath([(87.8,36.9),(87.8,38.2),(83.6,38.2),(83.6,36.9)], 0.6, ends="flush", simple_path=True, layer=37, datatype=0))  # L37_0
teamg_signchanger_8_bit_.add(gdstk.FlexPath([(34.6,40.65),(34.6,36.9)], 0.6, ends="flush", simple_path=True, layer=37, datatype=0))  # L37_0
teamg_signchanger_8_bit_.add(gdstk.FlexPath([(33.2,40.65),(33.2,36.9)], 0.6, ends="flush", simple_path=True, layer=37, datatype=0))  # L37_0
teamg_signchanger_8_bit_.add(gdstk.FlexPath([(43,38.6),(43,36.9)], 0.6, ends="flush", simple_path=True, layer=37, datatype=0))  # L37_0
teamg_signchanger_8_bit_.add(gdstk.FlexPath([(45.1,38.35),(44.4,38.35),(44.4,36.9)], 0.6, ends="flush", simple_path=True, layer=37, datatype=0))  # L37_0
teamg_signchanger_8_bit_.add(gdstk.FlexPath([(36,36.9),(36,38.2),(40.2,38.2),(40.2,36.9)], 0.6, ends="flush", simple_path=True, layer=37, datatype=0))  # L37_0
teamg_signchanger_8_bit_.add(gdstk.FlexPath([(24.8,38.6),(24.8,36.9)], 0.6, ends="flush", simple_path=True, layer=37, datatype=0))  # L37_0
teamg_signchanger_8_bit_.add(gdstk.FlexPath([(-13,38.6),(-13,36.9)], 0.6, ends="flush", simple_path=True, layer=37, datatype=0))  # L37_0
teamg_signchanger_8_bit_.add(gdstk.FlexPath([(22.7,38.35),(23.4,38.35),(23.4,36.9)], 0.6, ends="flush", simple_path=True, layer=37, datatype=0))  # L37_0
teamg_signchanger_8_bit_.add(gdstk.FlexPath([(31.8,36.9),(31.8,38.2),(27.6,38.2),(27.6,36.9)], 0.6, ends="flush", simple_path=True, layer=37, datatype=0))  # L37_0
teamg_signchanger_8_bit_.add(gdstk.FlexPath([(-20,36.9),(-20,38.2),(-15.8,38.2),(-15.8,36.9)], 0.6, ends="flush", simple_path=True, layer=37, datatype=0))  # L37_0
teamg_signchanger_8_bit_.add(gdstk.FlexPath([(-17.2,22.2),(-17.2,23.9)], 0.6, ends="flush", simple_path=True, layer=37, datatype=0))  # L37_0
teamg_signchanger_8_bit_.add(gdstk.FlexPath([(-3.2,22.2),(-3.2,23.9)], 0.6, ends="flush", simple_path=True, layer=37, datatype=0))  # L37_0
teamg_signchanger_8_bit_.add(gdstk.FlexPath([(12.2,23.9),(12.2,22.6),(5.2,22.6),(5.2,23.9)], 0.6, ends="flush", simple_path=True, layer=37, datatype=0))  # L37_0
teamg_signchanger_8_bit_.add(gdstk.Reference(teamg_halfadder_rb, (10.9,-29.6), rotation=pi, x_reflection=True))
teamg_signchanger_8_bit_.add(gdstk.Reference(inv1_h, (-22.1,23.9)))
teamg_signchanger_8_bit_.add(gdstk.Reference(via1, (34.6,44.2), rotation=pi))
teamg_signchanger_8_bit_.add(gdstk.Reference(via1, (89.2,44.2), rotation=pi))
teamg_signchanger_8_bit_.add(gdstk.Reference(via1, (33.2,44.2), rotation=pi))
teamg_signchanger_8_bit_.add(gdstk.Reference(via1, (34.6,40.65), rotation=pi))
teamg_signchanger_8_bit_.add(gdstk.Reference(via1, (33.2,40.65), rotation=pi))
teamg_signchanger_8_bit_.add(gdstk.Reference(via1, (52.8,39.5)))
teamg_signchanger_8_bit_.add(gdstk.Reference(via1, (6.6,39.5)))
teamg_signchanger_8_bit_.add(gdstk.Reference(via1, (-14.4,2.05), rotation=pi))
teamg_signchanger_8_bit_.add(gdstk.Reference(via1, (33.2,3), rotation=pi))
teamg_signchanger_8_bit_.add(gdstk.Reference(via1, (61.2,4.15), rotation=pi))
teamg_signchanger_8_bit_.add(gdstk.Reference(via1, (43,5.3)))
teamg_signchanger_8_bit_.add(gdstk.Reference(via1, (62.6,5.3)))
teamg_signchanger_8_bit_.add(gdstk.Reference(via1, (34.6,5.3)))
teamg_signchanger_8_bit_.add(gdstk.Reference(via1, (15,5.3)))
teamg_signchanger_8_bit_.add(gdstk.Reference(via1, (24.8,6.45), rotation=pi))
teamg_signchanger_8_bit_.add(gdstk.Reference(teamg_halfadder_rb, (66.9,-29.6), rotation=pi, x_reflection=True))
teamg_signchanger_8_bit_.add(gdstk.Reference(inv1_h, (61.9,7.9), rotation=pi, x_reflection=True))
teamg_signchanger_8_bit_.add(gdstk.Reference(inv1_h, (89.9,7.9), rotation=pi, x_reflection=True))
teamg_signchanger_8_bit_.add(gdstk.Reference(via1, (61.2,6.45), rotation=pi))
teamg_signchanger_8_bit_.add(gdstk.Reference(via1, (57,22.4)))
teamg_signchanger_8_bit_.add(gdstk.Reference(mux21_h, (59.1,7.9), rotation=pi, x_reflection=True))
teamg_signchanger_8_bit_.add(gdstk.Reference(teamg_halfadder_rb, (38.9,-29.6), rotation=pi, x_reflection=True))
teamg_signchanger_8_bit_.add(gdstk.Reference(via1, (52.8,6.45), rotation=pi))
teamg_signchanger_8_bit_.add(gdstk.Reference(inv1_h, (-15.1,7.9)))
teamg_signchanger_8_bit_.add(gdstk.Reference(via1, (-10.2,22.45)))
teamg_signchanger_8_bit_.add(gdstk.Reference(via1, (-14.4,6.45), x_reflection=True))
teamg_signchanger_8_bit_.add(gdstk.Reference(via1, (-6,6.45), x_reflection=True))
teamg_signchanger_8_bit_.add(gdstk.Reference(mux21_h, (-12.3,7.9)))
teamg_signchanger_8_bit_.add(gdstk.Reference(xor21_h, (5.9,7.9), rotation=pi, x_reflection=True))
teamg_signchanger_8_bit_.add(gdstk.Reference(inv1_h, (33.9,7.9), rotation=pi, x_reflection=True))
teamg_signchanger_8_bit_.add(gdstk.Reference(mux21_h, (31.1,7.9), rotation=pi, x_reflection=True))
teamg_signchanger_8_bit_.add(gdstk.Reference(via1, (33.2,6.45), rotation=pi))
teamg_signchanger_8_bit_.add(gdstk.Reference(mux21_h, (87.1,7.9), rotation=pi, x_reflection=True))
teamg_signchanger_8_bit_.add(gdstk.Reference(via1, (89.2,6.45), rotation=pi))
teamg_signchanger_8_bit_.add(gdstk.Reference(via1, (80.8,6.45), rotation=pi))
teamg_signchanger_8_bit_.add(gdstk.Reference(inv1_h, (89.9,23.9), rotation=pi, x_reflection=True))
teamg_signchanger_8_bit_.add(gdstk.Reference(via1, (89.2,38.35), rotation=pi, x_reflection=True))
teamg_signchanger_8_bit_.add(gdstk.Reference(via1, (80.8,38.35), rotation=pi, x_reflection=True))
teamg_signchanger_8_bit_.add(gdstk.Reference(mux21_h, (87.1,23.9), rotation=pi, x_reflection=True))
teamg_signchanger_8_bit_.add(gdstk.Reference(via1, (85,22.45)))
teamg_signchanger_8_bit_.add(gdstk.Reference(teamg_halfadder_rt, (66.9,-13.6), rotation=pi, x_reflection=True))
teamg_signchanger_8_bit_.add(gdstk.Reference(teamg_halfadder_rt, (56.9,-13.6)))
teamg_signchanger_8_bit_.add(gdstk.Reference(inv1_h, (33.9,23.9)))
teamg_signchanger_8_bit_.add(gdstk.Reference(via1, (34.6,38.35)))
teamg_signchanger_8_bit_.add(gdstk.Reference(via1, (43,38.35)))
teamg_signchanger_8_bit_.add(gdstk.Reference(mux21_h, (36.7,23.9)))
teamg_signchanger_8_bit_.add(gdstk.Reference(teamg_halfadder_rt, (0.9,-13.6)))
teamg_signchanger_8_bit_.add(gdstk.Reference(via1, (-21.4,38.35)))
teamg_signchanger_8_bit_.add(gdstk.Reference(teamg_halfadder_rt, (10.9,-13.6), rotation=pi, x_reflection=True))
teamg_signchanger_8_bit_.add(gdstk.Reference(inv1_h, (33.9,23.9), rotation=pi, x_reflection=True))
teamg_signchanger_8_bit_.add(gdstk.Reference(via1, (33.2,38.35), rotation=pi, x_reflection=True))
teamg_signchanger_8_bit_.add(gdstk.Reference(via1, (24.8,38.35), rotation=pi, x_reflection=True))
teamg_signchanger_8_bit_.add(gdstk.Reference(mux21_h, (31.1,23.9), rotation=pi, x_reflection=True))
teamg_signchanger_8_bit_.add(gdstk.Reference(via1, (-13,38.35)))
teamg_signchanger_8_bit_.add(gdstk.Reference(mux21_h, (-19.3,23.9)))
teamg_signchanger_8_bit_.add(gdstk.Reference(via1, (38.8,22.45)))
teamg_signchanger_8_bit_.add(gdstk.Reference(via1, (29,22.45)))
teamg_signchanger_8_bit_.add(gdstk.Reference(via1, (-17.2,22.45)))
teamg_signchanger_8_bit_.add(gdstk.Reference(via1, (-3.2,22.45)))
teamg_signchanger_8_bit_.add(gdstk.Label('VDD', (-22.1,36), layer=37, texttype=0))
teamg_signchanger_8_bit_.add(gdstk.Label('GND', (-22.1,24.8), layer=37, texttype=0))
teamg_signchanger_8_bit_.add(gdstk.Label('VDD', (-22.1,20), layer=37, texttype=0))
teamg_signchanger_8_bit_.add(gdstk.Label('GND', (-22.1,8.8), layer=37, texttype=0))
teamg_signchanger_8_bit_.add(gdstk.Label('OUT7', (1.05,1), layer=37, texttype=0))
teamg_signchanger_8_bit_.add(gdstk.Label('OUT6', (17.85,1), layer=37, texttype=0))
teamg_signchanger_8_bit_.add(gdstk.Label('OUT5', (45.85,1), layer=37, texttype=0))
teamg_signchanger_8_bit_.add(gdstk.Label('OUT4', (73.85,1), layer=37, texttype=0))
teamg_signchanger_8_bit_.add(gdstk.Label('IN7', (94,44.65), layer=37, texttype=0))
teamg_signchanger_8_bit_.add(gdstk.Label('IN6', (93.05,44.65), layer=37, texttype=0))
teamg_signchanger_8_bit_.add(gdstk.Label('IN5', (92.1,44.65), layer=37, texttype=0))
teamg_signchanger_8_bit_.add(gdstk.Label('IN3', (89.2,44.65), layer=37, texttype=0))
teamg_signchanger_8_bit_.add(gdstk.Label('IN2', (34.6,44.65), layer=37, texttype=0))
teamg_signchanger_8_bit_.add(gdstk.Label('IN1', (33.2,44.65), layer=37, texttype=0))
teamg_signchanger_8_bit_.add(gdstk.Label('IN0', (-21.4,44.65), layer=37, texttype=0))
teamg_signchanger_8_bit_.add(gdstk.Label('OUT3', (91.2,1), layer=37, texttype=0))
teamg_signchanger_8_bit_.add(gdstk.Label('OUT2', (92.3,1), layer=37, texttype=0))
teamg_signchanger_8_bit_.add(gdstk.Label('OUT1', (93.4,1), layer=37, texttype=0))
teamg_signchanger_8_bit_.add(gdstk.Label('OUT0', (94.5,1), layer=37, texttype=0))
teamg_signchanger_8_bit_.add(gdstk.Label('IN4', (91.15,44.65), layer=37, texttype=0))

lib.write_gds('TEAMG_SIGNCHANGER_8_BIT_ROUTED.gds')
